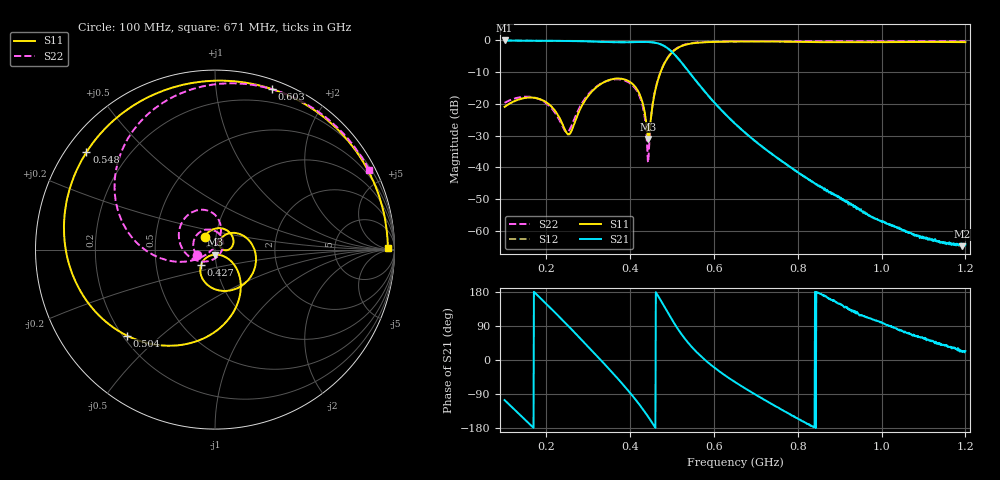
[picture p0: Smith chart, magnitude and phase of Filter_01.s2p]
! Rohde & Schwarz Vector Network Analyzer
! Rohde-Schwarz,ZNB8-4Port,1334333044101560,3.72
! Port Assignments:
! Nominal Port -> Actual Test Port
!  1 -> 1
!  2 -> 2
! Created: GMT 2024-12-03 15:21:24
# Hz S DB R 50
! freq[Hz]  S11[mag dB]  S11[ang]  S21[mag dB]  S21[ang]  S12[mag dB]  S12[ang]  S22[mag dB]  S22[ang]
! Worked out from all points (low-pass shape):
!   1101 points, 100 MHz to 1.2 GHz, reference 50 ohm
!   highest |S21| = -0.02 dB at 100 MHz (marker M1); lowest = -64.8 dB at 1.193 GHz (marker M2)
!   |S21| within 3 dB of the highest: start of sweep to 494.5 MHz
!   lowest |S11| = -31.0 dB at 443 MHz (marker M3), VSWR 1.06, Z = 49.8 - j2.79 ohm
!   |S11| at or under -10 dB: start of sweep to 472.3 MHz
!   |S22| runs from -38.4 to -0.3 dB; largest |S21 - S12| = 0.0032
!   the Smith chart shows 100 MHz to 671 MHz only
!   S11 on the Smith chart (normalised r, x): 100 MHz: 0.88, +0.12; 427 MHz: 0.84, -0.15; 504 MHz: 0.22, -0.39; 548 MHz: 0.06, +0.33; 603 MHz: 0.08, +1.41; 671 MHz: 49, +14
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1e8  -20.92 129.9  -0.02 -105.9  -0.02 -105.9  -19.65 -162.8
1.46e8  -18.16 74.5  -0.10 -154.5  -0.10 -154.5  -17.74 149.2
1.84e8  -18.48 32.8  -0.13 164.9  -0.13 164.9  -18.59 106.8
2.52e8  -29.56 24.6  -0.15 89.9  -0.14 89.8  -28.73 -48.3
2.84e8  -20.68 57.2  -0.23 53.2  -0.23 53.2  -19.92 -139.2
3.48e8  -12.54 -14.6  -0.53 -22.1  -0.52 -22.2  -12.61 145.1
3.91e8  -12.51 -76.8  -0.58 -75.5  -0.58 -75.5  -12.86 104.1
4.27e8  -18.59 -131.7  -0.50 -125.3  -0.50 -125.3  -19.39 71.9
4.43e8  -31.04 -93.4  -0.52 -150.2  -0.51 -150.2  -38.43 151.9
4.67e8  -12.05 -54.9  -0.98 168.0  -0.97 168.0  -11.92 -165.5
5.04e8  -3.27 -135.7  -4.20 98.4  -4.21 98.4  -3.16 143.0
5.48e8  -0.93 142.9  -11.25 32.9  -11.27 33.0  -0.82 95.0
6.03e8  -0.46 70.6  -19.90 -21.9  -19.91 -21.9  -0.38 58.0
6.5e8  -0.34 21.1  -26.19 -58.0  -26.19 -58.2  -0.31 35.6
6.71e8  -0.33 0.6  -28.72 -72.7  -28.68 -72.9  -0.29 27.1
7.56e8  -0.37 -78.9  -37.46 -127.8  -37.43 -127.6  -0.27 -1.7
8.34e8  -0.52 -151.5  -44.43 -174.8  -44.39 -175.0  -0.27 -22.9
9.34e8  -0.60 122.3  -52.31 128.8  -52.03 128.1  -0.26 -45.4
1.017e9  -0.54 61.6  -57.95 89.9  -57.85 90.9  -0.27 -61.3
1.105e9  -0.49 4.7  -62.40 57.7  -62.08 54.9  -0.26 -76.2
1.193e9  -0.54 -51.2  -64.78 23.0  -64.64 21.4  -0.26 -89.5
1.2e9  -0.54 -55.8  -64.12 23.7  -64.66 18.9  -0.26 -90.5
